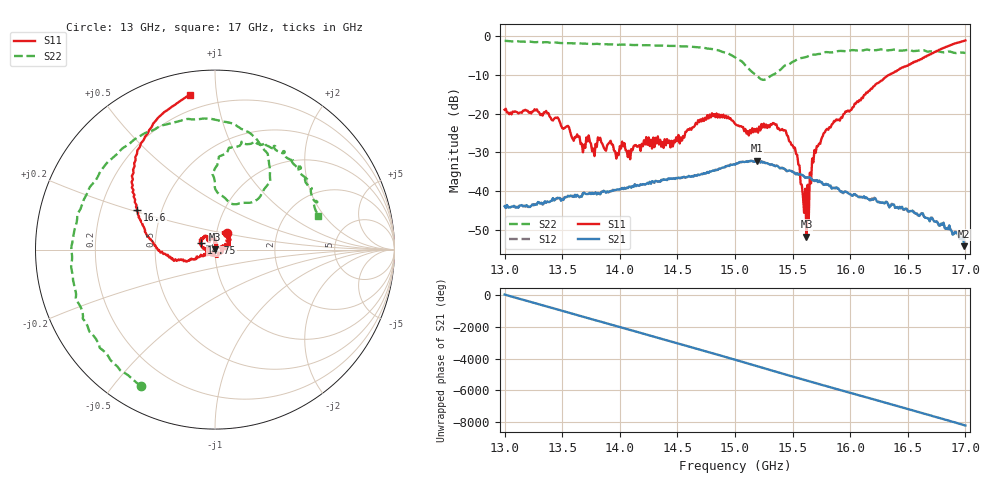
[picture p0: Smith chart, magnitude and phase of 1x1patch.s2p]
!Keysight Technologies,P9374A,MY57211807,A.19.30.04
!Date: Friday, May 08, 2026 13:54:33
!Correction: S11(C  2-Port  )
!S21(C  2-Port  )
!S12(C  2-Port  )
!S22(C  2-Port  )
!S2P File: Measurements: S11, S21, S12, S22:
# Hz S  dB  R 50
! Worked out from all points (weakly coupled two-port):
!   401 points, 13 GHz to 17 GHz, reference 50 ohm
!   highest |S21| = -32.09 dB at 15.19 GHz (marker M1); lowest = -54.2 dB at 16.99 GHz (marker M2)
!   lowest |S11| = -51.7 dB at 15.62 GHz (marker M3), VSWR 1.01, Z = 50.1 + j0.242 ohm
!   |S11| at or under -10 dB: start of sweep to 16.34 GHz
!   |S22| runs from -11.3 to -1.3 dB; largest |S21 - S12| = 0.00096
!   S11 on the Smith chart (normalised r, x): 13 GHz: 1.12, +0.21; 14.75 GHz: 0.86, +0.06; 16.6 GHz: 0.36, +0.21; 17 GHz: 0.12, +0.85
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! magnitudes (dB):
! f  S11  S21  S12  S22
! 13 GHz  -19.0  -43.9  -43.8  -1.3
! 13.36 GHz  -19.3  -42.9  -43.0  -1.6
! 13.67 GHz  -27.7  -41.4  -41.1  -2.0
! 13.78 GHz  -30.9  -40.6  -40.6  -2.1
! 13.83 GHz  -26.2  -40.8  -40.8  -2.1
! 14.07 GHz  -31.2  -39.2  -39.2  -2.3
! 14.34 GHz  -27.9  -37.4  -37.5  -2.5
! 14.54 GHz  -27.0  -36.5  -36.5  -2.7
! 14.75 GHz  -21.6  -35.4  -35.3  -3.2
! 15 GHz  -22.6  -33.2  -33.1  -5.5
! 15.19 GHz  -23.8  -32.1  -32.1  -10.3
! 15.44 GHz  -24.4  -34.5  -34.6  -7.5
! 15.54 GHz  -30.7  -35.4  -35.4  -6.0
! 15.6 GHz  -45.5  -36.2  -36.2  -5.6
! 15.62 GHz  -51.7  -36.5  -36.6  -5.4
! 15.64 GHz  -47.4  -36.4  -36.4  -5.2
! 15.67 GHz  -31.6  -37.1  -37.1  -4.8
! 15.78 GHz  -24.8  -38.3  -38.2  -4.2
! 16.34 GHz  -10.0  -44.2  -44.0  -3.7
! 16.6 GHz  -6.2  -46.4  -46.0  -3.8
! 16.99 GHz  -1.3  -54.2  -53.9  -4.3
! 17 GHz  -1.2  -53.7  -53.3  -4.4
